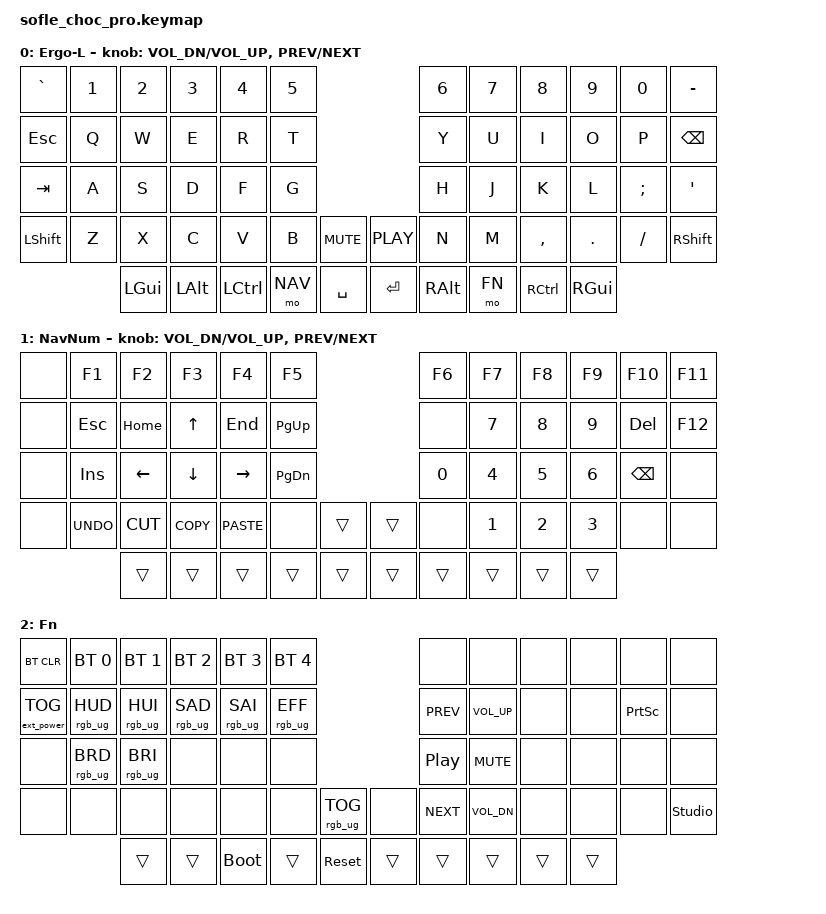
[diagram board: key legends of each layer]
/*
* Copyright (c) 2020 The ZMK Contributors
*
* SPDX-License-Identifier: MIT
*
* Ergo-L layout: https://ergol.org
* This keymap sends QWERTY keycodes. Install the Ergo-L driver on your OS.
* Windows: https://github.com/Nuclear-Squid/ergol/releases
* AltGr (RALT) on right thumb enables Ergo-L's programming symbols layer.
*/

#include <behaviors.dtsi>
#include <dt-bindings/zmk/keys.h>
#include <dt-bindings/zmk/bt.h>
#include <dt-bindings/zmk/rgb.h>
#include <dt-bindings/zmk/ext_power.h>

#define BASE 0
#define NAV 1
#define FN 2

/ {

  keymap {
    compatible = "zmk,keymap";

    base_layer {
      display-name = "Ergo-L";
      // QWERTY keycodes -- Ergo-L OS driver remaps them:
      // |  `~  | 1 € | 2 « | 3 » | 4 $ | 5 % |                | 6 ^ | 7 & | 8 * | 9 # | 0 @ | / _ |
      // | ESC  |  Q  |  C  |  O  |  P  |  W  |                |  J  |  M  |  D  |  *  |  Y  | BSPC|
      // | TAB  |  A  |  S  |  E  |  N  |  F  |                |  L  |  R  |  T  |  I  |  U  |  '  |
      // | SHFT |  Z  |  X  |  -  |  V  |  B  | MUTE  | | PLAY |  .  |  H  |  G  |  ,  |  K  | SHFT|
      //              | GUI | ALT | CTRL| NAV | SPACE | | ENTER |AltGr| FN  | CTRL| GUI |
      bindings = <
        &kp GRAVE &kp N1 &kp N2   &kp N3   &kp N4    &kp N5                           &kp N6    &kp N7    &kp N8    &kp N9   &kp N0   &kp MINUS
        &kp ESC   &kp Q  &kp W    &kp E    &kp R     &kp T                            &kp Y     &kp U     &kp I     &kp O    &kp P    &kp BSPC
        &kp TAB   &kp A  &kp S    &kp D    &kp F     &kp G                            &kp H     &kp J     &kp K     &kp L    &kp SEMI &kp SQT
        &kp LSHFT &kp Z  &kp X    &kp C    &kp V     &kp B      &kp C_MUTE &kp C_PLAY &kp N     &kp M     &kp COMMA &kp DOT  &kp FSLH &kp RSHFT
                         &kp LGUI &kp LALT &kp LCTRL &mo NAV    &kp SPACE  &kp RET    &kp RALT  &mo FN    &kp RCTRL &kp RGUI
      >;

      sensor-bindings = <&inc_dec_kp C_VOL_DN C_VOL_UP &inc_dec_kp C_PREV C_NEXT>;
    };

    nav_layer {
      display-name = "NavNum";
      // Navigation (left) + Numpad (right)
      // |      |  F1 |  F2 |  F3  |  F4  |  F5  |                |  F6  |  F7  |  F8  |  F9  | F10  |  F11 |
      // |      | ESC | HOME|  UP  | END  | PGUP |                |      |  7   |  8   |  9   | DEL  |  F12 |
      // |      | INS | LEFT| DOWN |RIGHT | PGDN |                |  0   |  4   |  5   |  6   | BSPC |      |
      // |      | UNDO| CUT | COPY |PASTE |      |      |  |     |      |  1   |  2   |  3   |      |      |
      //              |     |      |      |(held)|      |  |     |      |      |      |      |
      bindings = <
        &none  &kp F1     &kp F2    &kp F3     &kp F4      &kp F5                       &kp F6 &kp F7 &kp F8 &kp F9 &kp F10 &kp F11
        &none  &kp ESC    &kp HOME  &kp UP     &kp END     &kp PG_UP                    &none  &kp N7 &kp N8 &kp N9 &kp DEL &kp F12
        &none  &kp INS    &kp LEFT  &kp DOWN   &kp RIGHT   &kp PG_DN                    &kp N0 &kp N4 &kp N5 &kp N6 &kp BSPC &none
        &none  &kp K_UNDO &kp K_CUT &kp K_COPY &kp K_PASTE &none      &trans    &trans  &none  &kp N1 &kp N2 &kp N3 &none   &none
                          &trans    &trans     &trans      &trans     &trans    &trans  &trans &trans &trans &trans
      >;

      sensor-bindings = <&inc_dec_kp C_VOL_DN C_VOL_UP &inc_dec_kp C_PREV C_NEXT>;
    };

    fn_layer {
      display-name = "Fn";
      // Bluetooth + RGB (left) + Media (right)
      // | BTCLR| BT1 | BT2 | BT3  | BT4  | BT5  |                |      |      |      |      |      |      |
      // |EPTOG |RGB_HD|RGB_HI|RGB_SD|RGB_SI|RGB_EF|                | PREV |VOL_UP|      |      | PSCR |      |
      // |      |RGB_BD|RGB_BI|      |      |      |                | PLAY | MUTE |      |      |      |      |
      // |      |      |      |      |      |      |RGB_TOG|  |     | NEXT |VOL_DN|      |      |      |STUDIO|
      //              |      |      | BOOT |      | RESET |  |     |      |(held)|      |      |
      bindings = <
        &bt BT_CLR        &bt BT_SEL 0    &bt BT_SEL 1    &bt BT_SEL 2    &bt BT_SEL 3    &bt BT_SEL 4                                &none      &none        &none &none &none     &none
        &ext_power EP_TOG &rgb_ug RGB_HUD &rgb_ug RGB_HUI &rgb_ug RGB_SAD &rgb_ug RGB_SAI &rgb_ug RGB_EFF                              &kp C_PREV &kp C_VOL_UP &none &none &kp PSCRN &none
        &none             &rgb_ug RGB_BRD &rgb_ug RGB_BRI &none           &none           &none                                        &kp C_PP   &kp C_MUTE   &none &none &none     &none
        &none             &none           &none           &none           &none           &none            &rgb_ug RGB_TOG &none        &kp C_NEXT &kp C_VOL_DN &none &none &none     &studio_unlock
                                          &trans          &trans          &bootloader     &trans           &sys_reset      &trans       &trans     &trans       &trans &trans
      >;
    };
  };
};
